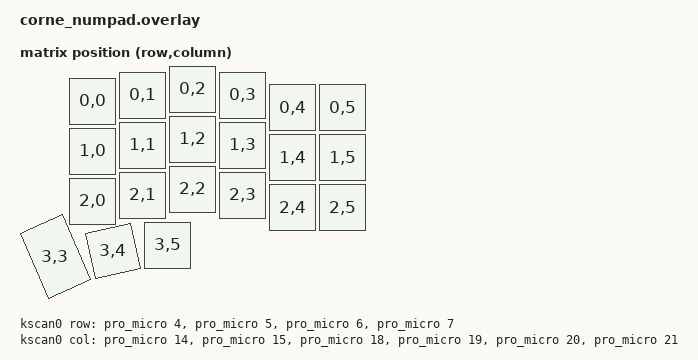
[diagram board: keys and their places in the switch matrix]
/*
 * Copyright (c) 2024 The ZMK Contributors
 * SPDX-License-Identifier: MIT
 *
 * Corne (crkbd) RIGHT half repurposed as standalone wireless numpad.
 * Controller: nice!nano v2 (nRF52840)
 *
 * Matrix: col2row diode direction
 *   Rows (OUTPUT):
 *     ROW0 = &pro_micro 4  (P0.22)
 *     ROW1 = &pro_micro 5  (P0.24)
 *     ROW2 = &pro_micro 6  (P1.00)
 *     ROW3 = &pro_micro 7  (P0.11)   thumb row
 *
 *   Cols (INPUT):
 *     COL0 = &pro_micro 14 (P1.11)
 *     COL1 = &pro_micro 15 (P1.13)
 *     COL2 = &pro_micro 18 (P1.15)
 *     COL3 = &pro_micro 19 (P0.02)
 *     COL4 = &pro_micro 20 (P0.29)
 *     COL5 = &pro_micro 21 (P0.31)
 *
 * Physical layout (21 keys):
 *   [ 0][ 1][ 2][ 3][ 4][ 5]
 *   [ 6][ 7][ 8][ 9][10][11]
 *   [12][13][14][15][16][17]
 *                [18][19][20]
 *
 * Row 3, columns 0-2 are not wired on the right half PCB (those are the
 * left half's thumb keys in the full split layout). The matrix transform
 * omits them.
 */

#include <dt-bindings/zmk/matrix_transform.h>
#include <physical_layouts.dtsi>

/ {
    chosen {
        zmk,kscan = &kscan0;
        zmk,physical-layout = &default_layout;
    };

    default_transform: keymap_transform_0 {
        compatible = "zmk,matrix-transform";
        columns = <6>;
        rows = <4>;
        map = <
            RC(0,0) RC(0,1) RC(0,2) RC(0,3) RC(0,4) RC(0,5)
            RC(1,0) RC(1,1) RC(1,2) RC(1,3) RC(1,4) RC(1,5)
            RC(2,0) RC(2,1) RC(2,2) RC(2,3) RC(2,4) RC(2,5)
                                    RC(3,3) RC(3,4) RC(3,5)
        >;
    };

    /*
     * Physical key positions — matches the real Corne right half with
     * column stagger, taken from ZMK's in-tree foostan/corne/6column.dtsi
     * and shifted so the leftmost key starts near x=0.
     *
     * Visual (with stagger):
     *     [ 0][ 1][ 2][ 3][ 4][ 5]
     *     [ 6][ 7][ 8][ 9][10][11]
     *     [12][13][14][15][16][17]
     *              [18][19][20]
     */
    default_layout: default_layout {
        compatible = "zmk,physical-layout";
        display-name = "Numpad";
        transform = <&default_transform>;
        kscan = <&kscan0>;
        keys  //                     w   h    x    y     rot    rx    ry
            = <&key_physical_attrs 100 100   50   24       0     0     0>
            , <&key_physical_attrs 100 100  150   12       0     0     0>
            , <&key_physical_attrs 100 100  250    0       0     0     0>
            , <&key_physical_attrs 100 100  350   12       0     0     0>
            , <&key_physical_attrs 100 100  450   37       0     0     0>
            , <&key_physical_attrs 100 100  550   37       0     0     0>
            , <&key_physical_attrs 100 100   50  124       0     0     0>
            , <&key_physical_attrs 100 100  150  112       0     0     0>
            , <&key_physical_attrs 100 100  250  100       0     0     0>
            , <&key_physical_attrs 100 100  350  112       0     0     0>
            , <&key_physical_attrs 100 100  450  137       0     0     0>
            , <&key_physical_attrs 100 100  550  137       0     0     0>
            , <&key_physical_attrs 100 100   50  224       0     0     0>
            , <&key_physical_attrs 100 100  150  212       0     0     0>
            , <&key_physical_attrs 100 100  250  200       0     0     0>
            , <&key_physical_attrs 100 100  350  212       0     0     0>
            , <&key_physical_attrs 100 100  450  237       0     0     0>
            , <&key_physical_attrs 100 100  550  237       0     0     0>
            , <&key_physical_attrs 100 150    2  283 (-2400)  102  433>
            , <&key_physical_attrs 100 100  100  312 (-1200)  200  412>
            , <&key_physical_attrs 100 100  200  312       0     0     0>
            ;
    };

    kscan0: kscan {
        compatible = "zmk,kscan-gpio-matrix";
        wakeup-source;
        diode-direction = "col2row";

        row-gpios
            = <&pro_micro 4 (GPIO_ACTIVE_HIGH | GPIO_PULL_DOWN)>
            , <&pro_micro 5 (GPIO_ACTIVE_HIGH | GPIO_PULL_DOWN)>
            , <&pro_micro 6 (GPIO_ACTIVE_HIGH | GPIO_PULL_DOWN)>
            , <&pro_micro 7 (GPIO_ACTIVE_HIGH | GPIO_PULL_DOWN)>
            ;

        col-gpios
            = <&pro_micro 14 GPIO_ACTIVE_HIGH>
            , <&pro_micro 15 GPIO_ACTIVE_HIGH>
            , <&pro_micro 18 GPIO_ACTIVE_HIGH>
            , <&pro_micro 19 GPIO_ACTIVE_HIGH>
            , <&pro_micro 20 GPIO_ACTIVE_HIGH>
            , <&pro_micro 21 GPIO_ACTIVE_HIGH>
            ;
    };
};
